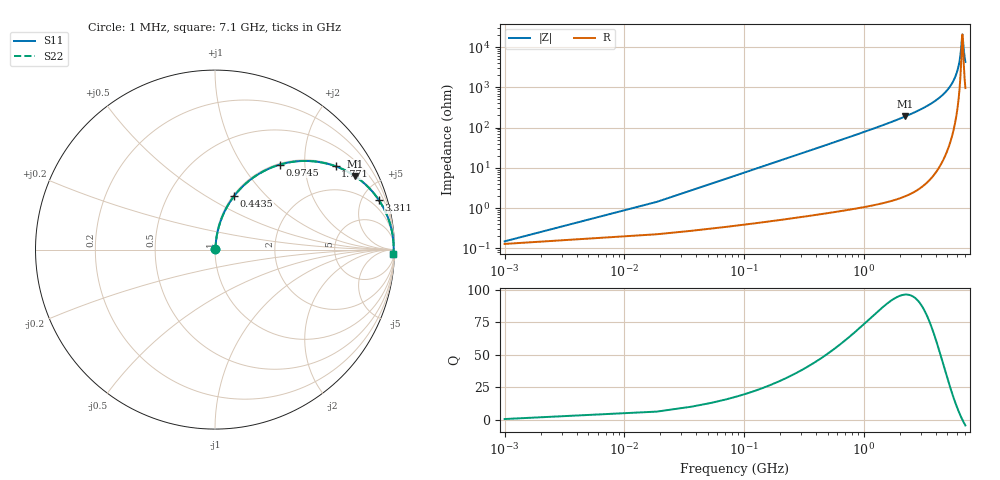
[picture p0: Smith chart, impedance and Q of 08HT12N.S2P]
! Coilcraft 0805HT-12N Chip Inductor
! 24 June 2002
# MHZ S MA R 50
!Freq  MagS11  AngS11  MagS21  AngS21  MagS12  AngS12  MagS22  AngS22
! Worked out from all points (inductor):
!   403 points, 1 MHz to 7.1 GHz, reference 50 ohm
!   read as one part in series: L = 12 nH near 36.4 MHz
!   highest Q = 96.3 at 2.231 GHz (marker M1), where L = 13.5 nH
!   self-resonance near 6.692 GHz
!   S11 on the Smith chart (normalised r, x): 1 MHz: 1.00, +0.00; 443.5 MHz: 1.01, +0.67; 974.5 MHz: 1.02, +1.50; 1.771 GHz: 1.03, +2.87; 3.311 GHz: 1.08, +6.60; 7.1 GHz: 20, -83
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1  0.001489 30.3  0.9987 -0.0  0.9987 -0.0  0.001489 30.3
54.1  0.04075 83.3  0.9961 -2.3  0.9961 -2.3  0.04075 83.3
107.2  0.08036 82.6  0.9928 -4.6  0.9928 -4.6  0.08036 82.6
231.1  0.171 78.4  0.98 -9.8  0.98 -9.8  0.171 78.4
443.5  0.3164 70.3  0.942 -18.4  0.942 -18.4  0.3164 70.3
673.6  0.4535 62.1  0.8837 -27.0  0.8837 -27.0  0.4535 62.1
974.5  0.5964 52.6  0.7945 -36.6  0.7945 -36.6  0.5964 52.6
1186.9  0.6744 46.9  0.7299 -42.4  0.7299 -42.4  0.6744 46.9
1771  0.8164 34.7  0.5687 -54.7  0.5687 -54.7  0.8164 34.7
2231.2  0.8803 27.7  0.4653 -61.7  0.4653 -61.7  0.8803 27.7
2372.8  0.8947 25.9  0.4374 -63.5  0.4374 -63.5  0.8947 25.9
3310.9  0.9539 16.8  0.2889 -72.5  0.2889 -72.5  0.9539 16.8
3558.7  0.9628 14.9  0.2577 -74.3  0.2577 -74.3  0.9628 14.9
4744.6  0.987 7.9  0.1377 -80.6  0.1377 -80.6  0.987 7.9
5434.9  0.9927 4.8  0.08305 -82.6  0.08305 -82.6  0.9927 4.8
5930.5  0.9947 2.8  0.04847 -82.3  0.04847 -82.3  0.9947 2.8
6373  0.9953 1.1  0.02038 -76.1  0.02038 -76.1  0.9953 1.1
6496.9  0.9953 0.7  0.01313 -68.7  0.01313 -68.7  0.9953 0.7
6691.6  0.9952 0.0  0.004845 -7.8  0.004845 -7.8  0.9952 0.0
6744.7  0.9951 -0.1  0.005433 26.6  0.005433 26.6  0.9951 -0.1
6939.4  0.9949 -0.8  0.01455 68.9  0.01455 68.9  0.9949 -0.8
7100  0.9945 -1.3  0.02325 75.8  0.02325 75.8  0.9945 -1.3
